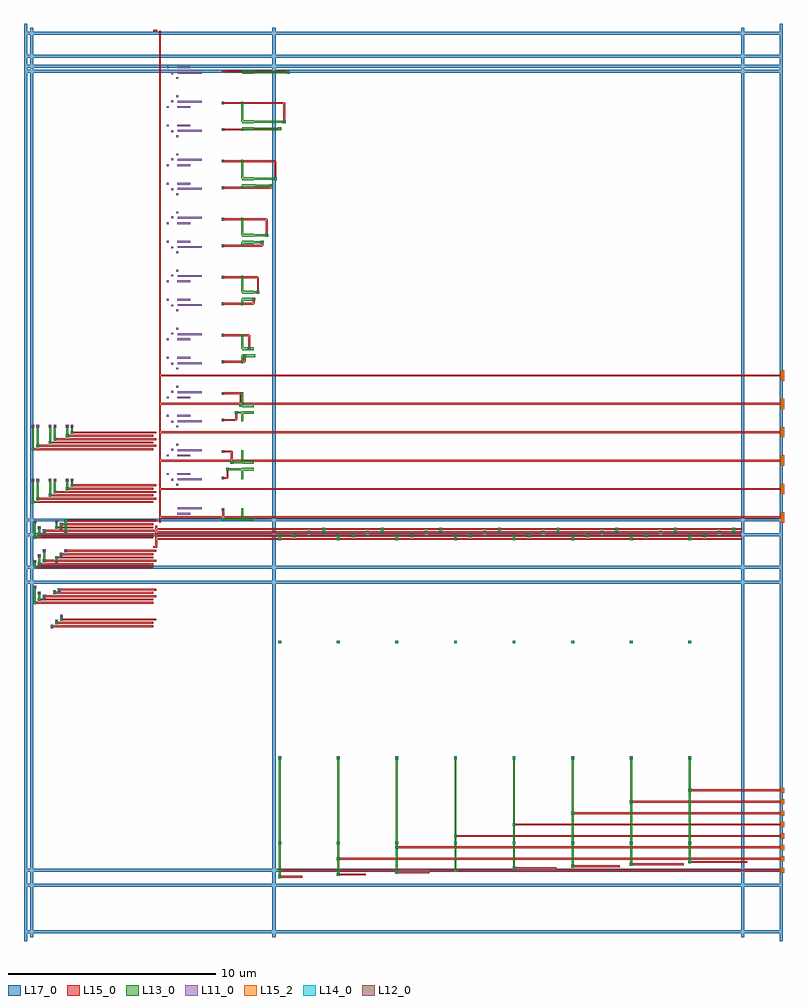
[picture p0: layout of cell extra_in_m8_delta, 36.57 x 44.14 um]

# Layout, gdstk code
import gdstk
lib = gdstk.Library(unit=1e-6, precision=5e-10)
def R(c, l, rs):  # rectangles x0, y0, x1, y1
    for r in rs: c.add(gdstk.rectangle(r[:2], r[2:], *l))
def A(c, l, x, y, w, h, nx, ny, dx, dy):  # array of equal rectangles
    R(c, l, [(x+i*dx, y+j*dy, x+i*dx+w, y+j*dy+h) for i in range(nx) for j in range(ny)])
L11_0 = (11, 0)
L12_0 = (12, 0)
L13_0 = (13, 0)
L14_0 = (14, 0)
L15_0 = (15, 0)
L15_2 = (15, 2)
L17_0 = (17, 0)

extra_in_m8_delta = lib.new_cell('extra_in_m8_delta')
A(extra_in_m8_delta, L11_0, 7.46, 20.785, 1.145, 0.09, 1, 16, 0, 1.3975)
R(extra_in_m8_delta, L11_0, [(1.33,15.0575,1.465,15.1925), (1.3525,15.08,1.4425,15.17), (1.545,15.3375,1.68,15.4725), (1.5675,15.36,1.6575,15.45), (1.7825,15.57,1.9175,15.705), (1.805,15.5925,1.895,15.6825), (0.96,16.4525,1.095,16.5875), (0.9825,16.475,1.0725,16.565), (0.7225,16.685,0.8575,16.82), (0.745,16.7075,0.835,16.7975), (1.4525,16.755,1.5875,16.89), (1.685,16.755,1.82,16.89), (1.475,16.7775,1.565,16.8675), (1.7075,16.7775,1.7975,16.8675), (0.5075,16.965,0.6425,17.1), (0.53,16.9875,0.62,17.0775), (0.5075,18.205,0.6425,18.34), (1.545,18.205,1.68,18.34), (0.53,18.2275,0.62,18.3175), (1.5675,18.2275,1.6575,18.3175), (0.7225,18.485,0.8575,18.62), (1.76,18.485,1.895,18.62), (0.745,18.5075,0.835,18.5975), (1.7825,18.5075,1.8725,18.5975), (0.96,18.7175,1.095,18.8525), (1.9975,18.7175,2.1325,18.8525), (0.9825,18.74,1.0725,18.83), (2.02,18.74,2.11,18.83), (0.96,19.6,1.095,19.735), (1.9975,19.6,2.1325,19.735), (0.9825,19.6225,1.0725,19.7125), (2.02,19.6225,2.11,19.7125), (0.7225,19.8325,0.8575,19.9675), (1.76,19.8325,1.895,19.9675), (0.745,19.855,0.835,19.945), (1.7825,19.855,1.8725,19.945), (0.5075,20.1125,0.6425,20.2475), (1.545,20.1125,1.68,20.2475), (0.53,20.135,0.62,20.225), (1.5675,20.135,1.6575,20.225), (7.4225,20.53,8.0075,20.62), (7.9625,20.53,8.0525,20.62), (9.5625,20.7025,9.6975,20.8375), (9.585,20.725,9.675,20.815), (7.3775,21.925,7.4675,22.015), (0.415,22.115,0.55,22.25), (0.6475,22.115,0.7825,22.25), (1.2375,22.115,1.3725,22.25), (1.47,22.115,1.605,22.25), (2.06,22.115,2.195,22.25), (2.2925,22.115,2.4275,22.25), (0.4375,22.1375,0.5275,22.2275), (0.67,22.1375,0.76,22.2275), (1.26,22.1375,1.35,22.2275), (1.4925,22.1375,1.5825,22.2275), (2.0825,22.1375,2.1725,22.2275), (2.315,22.1375,2.405,22.2275), (7.14,22.1575,7.23,22.2475), (9.5625,22.22,9.6975,22.355), (9.585,22.2425,9.675,22.3325), (6.925,22.4375,7.015,22.5275), (7.4225,22.4375,8.0075,22.5275), (7.9625,22.4375,8.0525,22.5275), (6.925,23.325,7.015,23.415), (7.4225,23.325,8.0075,23.415), (7.9625,23.325,8.0525,23.415), (9.5625,23.4975,9.6975,23.6325), (9.585,23.52,9.675,23.61), (7.14,23.605,7.23,23.695), (7.3775,23.8375,7.4675,23.9275), (0.415,24.7075,0.55,24.8425), (0.6475,24.7075,0.7825,24.8425), (1.2375,24.7075,1.3725,24.8425), (1.47,24.7075,1.605,24.8425), (2.06,24.7075,2.195,24.8425), (2.2925,24.7075,2.4275,24.8425), (7.3775,24.72,7.4675,24.81), (0.4375,24.73,0.5275,24.82), (0.67,24.73,0.76,24.82), (1.26,24.73,1.35,24.82), (1.4925,24.73,1.5825,24.82), (2.0825,24.73,2.1725,24.82), (2.315,24.73,2.405,24.82), (7.14,24.9525,7.23,25.0425), (9.5625,25.015,9.6975,25.15), (9.585,25.0375,9.675,25.1275), (6.925,25.2325,7.015,25.3225), (7.4225,25.2325,8.0075,25.3225), (7.9625,25.2325,8.0525,25.3225), (6.925,26.12,7.015,26.21), (7.4225,26.12,8.0075,26.21), (7.9625,26.12,8.0525,26.21), (9.5625,26.2925,9.6975,26.4275), (9.585,26.315,9.675,26.405), (7.14,26.4,7.23,26.49), (7.3775,26.6325,7.4675,26.7225), (7.3775,27.515,7.4675,27.605), (7.14,27.7475,7.23,27.8375), (9.5625,27.81,9.6975,27.945), (9.585,27.8325,9.675,27.9225), (6.925,28.0275,7.015,28.1175), (7.4225,28.0275,8.0075,28.1175), (7.9625,28.0275,8.0525,28.1175), (6.925,28.915,7.015,29.005), (7.4225,28.915,8.0075,29.005), (7.9625,28.915,8.0525,29.005), (9.5625,29.0875,9.6975,29.2225), (9.585,29.11,9.675,29.2), (7.14,29.195,7.23,29.285), (7.3775,29.4275,7.4675,29.5175), (7.3775,30.31,7.4675,30.4), (7.14,30.5425,7.23,30.6325), (9.5625,30.605,9.6975,30.74), (9.585,30.6275,9.675,30.7175), (6.925,30.8225,7.015,30.9125), (7.4225,30.8225,8.0075,30.9125), (7.9625,30.8225,8.0525,30.9125), (6.925,31.71,7.015,31.8), (7.4225,31.71,8.0075,31.8), (7.9625,31.71,8.0525,31.8), (9.5625,31.8825,9.6975,32.0175), (9.585,31.905,9.675,31.995), (7.14,31.99,7.23,32.08), (7.3775,32.2225,7.4675,32.3125), (7.3775,33.105,7.4675,33.195), (7.14,33.3375,7.23,33.4275), (9.5625,33.4,9.6975,33.535), (9.585,33.4225,9.675,33.5125), (6.925,33.6175,7.015,33.7075), (7.4225,33.6175,8.0075,33.7075), (7.9625,33.6175,8.0525,33.7075), (6.925,34.505,7.015,34.595), (7.4225,34.505,8.0075,34.595), (7.9625,34.505,8.0525,34.595), (9.5625,34.6775,9.6975,34.8125), (9.585,34.7,9.675,34.79), (7.14,34.785,7.23,34.875), (7.3775,35.0175,7.4675,35.1075), (7.3775,35.9,7.4675,35.99), (7.14,36.1325,7.23,36.2225), (9.5625,36.195,9.6975,36.33), (9.585,36.2175,9.675,36.3075), (6.925,36.4125,7.015,36.5025), (7.4225,36.4125,8.0075,36.5025), (7.9625,36.4125,8.0525,36.5025), (6.925,37.3,7.015,37.39), (7.4225,37.3,8.0075,37.39), (7.9625,37.3,8.0525,37.39), (9.5625,37.4725,9.6975,37.6075), (9.585,37.495,9.675,37.585), (7.14,37.58,7.23,37.67), (7.3775,37.8125,7.4675,37.9025), (7.3775,38.695,7.4675,38.785), (7.14,38.9275,7.23,39.0175), (9.5625,38.99,9.6975,39.125), (9.585,39.0125,9.675,39.1025), (6.925,39.2075,7.015,39.2975), (7.4225,39.2075,8.0075,39.2975), (7.9625,39.2075,8.0525,39.2975), (6.925,40.095,7.015,40.185), (7.4225,40.095,8.0075,40.185), (7.9625,40.095,8.0525,40.185), (9.5625,40.2675,9.6975,40.4025), (9.585,40.29,9.675,40.38), (7.14,40.375,7.23,40.465), (7.3775,40.6075,7.4675,40.6975), (7.3775,41.49,7.4675,41.58), (7.14,41.7225,7.23,41.8125), (9.5625,41.785,9.6975,41.92), (9.585,41.8075,9.675,41.8975), (6.925,42.0025,7.015,42.0925), (7.4225,42.0025,8.0075,42.0925), (7.9625,42.0025,8.0525,42.0925)])
R(extra_in_m8_delta, L12_0, [(1.365,15.0925,1.43,15.1575), (1.58,15.3725,1.645,15.4375), (1.8175,15.605,1.8825,15.67), (0.995,16.4875,1.06,16.5525), (0.7575,16.72,0.8225,16.785), (1.4875,16.79,1.5525,16.855), (1.72,16.79,1.785,16.855), (0.5425,17,0.6075,17.065), (0.5425,18.24,0.6075,18.305), (1.58,18.24,1.645,18.305), (0.7575,18.52,0.8225,18.585), (1.795,18.52,1.86,18.585), (0.995,18.7525,1.06,18.8175), (2.0325,18.7525,2.0975,18.8175), (0.995,19.635,1.06,19.7), (2.0325,19.635,2.0975,19.7), (0.7575,19.8675,0.8225,19.9325), (1.795,19.8675,1.86,19.9325), (0.5425,20.1475,0.6075,20.2125), (1.58,20.1475,1.645,20.2125), (9.5975,20.7375,9.6625,20.8025), (0.45,22.15,0.515,22.215), (0.6825,22.15,0.7475,22.215), (1.2725,22.15,1.3375,22.215), (1.505,22.15,1.57,22.215), (2.095,22.15,2.16,22.215), (2.3275,22.15,2.3925,22.215), (9.5975,22.255,9.6625,22.32), (9.5975,23.5325,9.6625,23.5975), (0.45,24.7425,0.515,24.8075), (0.6825,24.7425,0.7475,24.8075), (1.2725,24.7425,1.3375,24.8075), (1.505,24.7425,1.57,24.8075), (2.095,24.7425,2.16,24.8075), (2.3275,24.7425,2.3925,24.8075), (9.5975,25.05,9.6625,25.115), (9.5975,26.3275,9.6625,26.3925), (9.5975,27.845,9.6625,27.91), (9.5975,29.1225,9.6625,29.1875), (9.5975,30.64,9.6625,30.705), (9.5975,31.9175,9.6625,31.9825), (9.5975,33.435,9.6625,33.5), (9.5975,34.7125,9.6625,34.7775), (9.5975,36.23,9.6625,36.295), (9.5975,37.5075,9.6625,37.5725), (9.5975,39.025,9.6625,39.09), (9.5975,40.3025,9.6625,40.3675), (9.5975,41.82,9.6625,41.885)])
A(extra_in_m8_delta, L13_0, 12.285, 4.6525, 0.135, 0.135, 8, 2, 2.82, 4.105)
A(extra_in_m8_delta, L13_0, 12.285, 14.325, 0.135, 0.135, 8, 2, 2.82, 4.96)
A(extra_in_m8_delta, L13_0, 12.3075, 19.3525, 0.09, 0.2675, 8, 1, 2.82, 0)
A(extra_in_m8_delta, L13_0, 12.99, 19.445, 0.135, 0.135, 8, 1, 2.82, 0)
A(extra_in_m8_delta, L13_0, 13.0125, 19.5125, 0.09, 0.1075, 8, 1, 2.82, 0)
A(extra_in_m8_delta, L13_0, 13.7175, 19.6, 0.09, 0.0925, 8, 1, 2.82, 0)
A(extra_in_m8_delta, L13_0, 13.695, 19.605, 0.135, 0.135, 8, 1, 2.82, 0)
A(extra_in_m8_delta, L13_0, 14.4225, 19.62, 0.09, 0.2125, 8, 1, 2.82, 0)
A(extra_in_m8_delta, L13_0, 14.4, 19.765, 0.135, 0.135, 8, 1, 2.82, 0)
R(extra_in_m8_delta, L13_0, [(12.285,3.04,12.42,3.175), (12.3075,3.1075,12.3975,8.825), (15.105,3.14,15.24,3.275), (15.1275,3.2075,15.2175,8.825), (17.925,3.24,18.06,3.375), (17.9475,3.3075,18.0375,8.825), (20.745,3.34,20.88,3.475), (12.285,3.345,12.42,3.48), (20.7675,3.4075,20.8575,8.825), (12.3075,3.4125,12.3975,4.72), (23.565,3.44,23.7,3.575), (23.5875,3.5075,23.6775,8.825), (26.385,3.54,26.52,3.675), (26.4075,3.6075,26.4975,8.825), (29.205,3.64,29.34,3.775), (29.2275,3.7075,29.3175,8.825), (32.025,3.74,32.16,3.875), (32.0475,3.8075,32.1375,8.825), (15.105,3.895,15.24,4.03), (15.1275,3.9625,15.2175,4.72), (17.925,4.445,18.06,4.58), (17.9475,4.5125,18.0375,4.72), (20.7675,4.72,20.8575,5.0625), (23.5875,4.72,23.6775,5.6125), (26.4075,4.72,26.4975,6.1625), (29.2275,4.72,29.3175,6.7125), (32.0475,4.72,32.1375,7.2625), (20.745,4.995,20.88,5.13), (23.565,5.545,23.7,5.68), (26.385,6.095,26.52,6.23), (29.205,6.645,29.34,6.78), (32.025,7.195,32.16,7.33), (1.33,15.0575,1.465,15.1925), (1.33,15.09,1.465,15.225), (1.3525,15.095,1.4425,15.185), (1.545,15.25,1.68,15.385), (1.5675,15.315,1.6575,15.405), (1.545,15.3375,1.68,15.4725), (1.7825,15.41,1.9175,15.545), (1.805,15.4775,1.895,15.6375), (1.7825,15.57,1.9175,15.705), (0.5075,16.2125,0.6425,16.3475), (0.53,16.28,0.62,17.0325), (0.7225,16.3725,0.8575,16.5075), (0.745,16.44,0.835,16.7525), (0.96,16.4525,1.095,16.5875), (0.9825,16.515,1.0725,16.605), (0.96,16.5325,1.095,16.6675), (0.7225,16.685,0.8575,16.82), (1.4525,16.6925,1.5875,16.8275), (1.475,16.745,1.565,16.835), (1.4525,16.755,1.5875,16.89), (1.685,16.755,1.82,16.89), (1.7075,16.8225,1.7975,16.92), (1.685,16.8525,1.82,16.9875), (0.5075,16.965,0.6425,17.1), (0.5075,17.9175,0.6425,18.0525), (0.53,17.985,0.62,18.2725), (0.7225,18.0775,0.8575,18.2125), (0.745,18.145,0.835,18.5525), (0.5075,18.205,0.6425,18.34), (1.545,18.205,1.68,18.34), (0.96,18.2375,1.095,18.3725), (1.5675,18.2725,1.6575,18.465), (0.9825,18.305,1.0725,18.785), (1.545,18.3975,1.68,18.5325), (0.7225,18.485,0.8575,18.62), (1.76,18.485,1.895,18.62), (1.7825,18.5425,1.8725,18.635), (1.76,18.5575,1.895,18.6925), (0.96,18.7175,1.095,18.8525), (1.9975,18.7175,2.1325,18.8525), (1.9975,18.7175,2.1325,18.8525), (0.5075,19.36,0.6425,19.495), (0.53,19.4275,0.62,20.18), (0.7225,19.52,0.8575,19.655), (0.745,19.5875,0.835,19.9), (0.96,19.6,1.095,19.735), (1.9975,19.6,2.1325,19.735), (0.9825,19.6625,1.0725,19.7525), (2.02,19.6675,2.11,20.2275), (0.96,19.68,1.095,19.815), (0.7225,19.8325,0.8575,19.9675), (1.76,19.8325,1.895,19.9675), (1.545,19.84,1.68,19.975), (1.7825,19.9,1.8725,20.0675), (1.5675,19.9075,1.6575,20.18), (1.76,20,1.895,20.135), (0.5075,20.1125,0.6425,20.2475), (1.545,20.1125,1.68,20.2475), (1.9975,20.16,2.1325,20.295), (10.56,20.245,11.1,20.385), (9.5625,20.2475,9.6975,20.3825), (9.63,20.27,11.1,20.36), (10.515,20.315,10.605,20.83), (9.5625,20.7025,9.6975,20.8375), (0.415,21.065,0.55,21.2), (0.4375,21.1325,0.5275,22.1825), (0.6475,21.225,0.7825,21.36), (0.67,21.2925,0.76,22.1825), (1.2375,21.385,1.3725,21.52), (1.26,21.4525,1.35,22.1825), (1.47,21.545,1.605,21.68), (1.4925,21.6125,1.5825,22.1825), (2.06,21.705,2.195,21.84), (2.0825,21.7725,2.1725,22.1825), (2.2925,21.865,2.4275,22), (2.315,21.9325,2.405,22.1825), (0.415,22.115,0.55,22.25), (0.6475,22.115,0.7825,22.25), (1.2375,22.115,1.3725,22.25), (1.47,22.115,1.605,22.25), (2.06,22.115,2.195,22.25), (2.2925,22.115,2.4275,22.25), (9.5625,22.22,9.6975,22.355), (10.515,22.2275,10.605,22.71), (10.56,22.64,11.1,22.78), (9.7725,22.6425,9.9075,22.7775), (9.84,22.665,11.1,22.755), (10.56,22.975,11.1,23.115), (9.9825,22.9775,10.1175,23.1125), (10.05,23,11.1,23.09), (10.515,23.045,10.605,23.625), (9.5625,23.4975,9.6975,23.6325), (0.415,23.6125,0.55,23.7475), (0.4375,23.68,0.5275,24.775), (0.6475,23.7725,0.7825,23.9075), (0.67,23.84,0.76,24.775), (1.2375,23.9325,1.3725,24.0675), (1.26,24,1.35,24.775), (1.47,24.0925,1.605,24.2275), (1.4925,24.16,1.5825,24.775), (2.06,24.2525,2.195,24.3875), (2.0825,24.32,2.1725,24.775), (2.2925,24.4125,2.4275,24.5475), (2.315,24.48,2.405,24.775), (0.415,24.7075,0.55,24.8425), (0.6475,24.7075,0.7825,24.8425), (1.2375,24.7075,1.3725,24.8425), (1.47,24.7075,1.605,24.8425), (2.06,24.7075,2.195,24.8425), (2.2925,24.7075,2.4275,24.8425), (9.5625,25.015,9.6975,25.15), (10.515,25.0225,10.605,25.44), (10.56,25.37,11.1,25.51), (10.1925,25.3725,10.3275,25.5075), (10.26,25.395,11.1,25.485), (10.56,25.705,11.1,25.845), (10.4025,25.7075,10.5375,25.8425), (10.47,25.73,11.1,25.82), (10.515,25.775,10.605,26.42), (9.5625,26.2925,9.6975,26.4275), (9.5625,27.81,9.6975,27.945), (10.515,27.8175,10.605,28.17), (10.56,28.1,11.1,28.24), (10.6125,28.1025,10.7475,28.2375), (11.0325,28.1025,11.1675,28.2375), (10.68,28.125,11.1,28.215), (10.56,28.435,11.1,28.575), (10.8225,28.4375,10.9575,28.5725), (10.89,28.46,11.1,28.55), (10.515,28.505,10.605,29.215), (9.5625,29.0875,9.6975,29.2225), (9.5625,30.605,9.6975,30.74), (10.515,30.6125,10.605,30.9), (10.56,30.83,11.1,30.97), (10.56,31.165,11.1,31.305), (11.2425,31.1675,11.3775,31.3025), (11.1,31.19,11.31,31.28), (10.515,31.235,10.605,32.01), (9.5625,31.8825,9.6975,32.0175), (9.5625,33.4,9.6975,33.535), (10.515,33.4075,10.605,33.63), (10.56,33.56,11.1,33.7), (11.4525,33.5625,11.5875,33.6975), (11.1,33.585,11.52,33.675), (10.56,33.895,11.1,34.035), (11.6625,33.8975,11.7975,34.0325), (11.1,33.92,11.73,34.01), (10.515,33.965,10.605,34.805), (9.5625,34.6775,9.6975,34.8125), (9.5625,36.195,9.6975,36.33), (10.515,36.2025,10.605,36.36), (10.56,36.29,11.1,36.43), (11.0325,36.2925,11.1675,36.4275), (11.8725,36.2925,12.0075,36.4275), (11.1,36.315,11.94,36.405), (10.56,36.625,11.1,36.765), (12.0825,36.6275,12.2175,36.7625), (11.1,36.65,12.15,36.74), (10.515,36.695,10.605,37.6), (9.5625,37.4725,9.6975,37.6075), (9.5625,38.99,9.6975,39.125), (10.515,38.9975,10.605,39.09), (10.56,39.02,11.1,39.16), (12.2925,39.0225,12.4275,39.1575), (11.1,39.045,12.36,39.135), (10.56,39.355,11.1,39.495), (12.5025,39.3575,12.6375,39.4925), (11.1,39.38,12.57,39.47), (10.515,39.425,10.605,40.395), (9.5625,40.2675,9.6975,40.4025), (10.56,41.75,11.1,41.89), (12.7125,41.7525,12.8475,41.8875), (11.1,41.775,12.78,41.865), (9.5625,41.785,9.6975,41.92), (10.515,41.7925,10.605,41.82)])
A(extra_in_m8_delta, L14_0, 12.32, 4.6875, 0.065, 0.065, 8, 2, 2.82, 4.105)
A(extra_in_m8_delta, L14_0, 12.32, 14.36, 0.065, 0.065, 8, 2, 2.82, 4.96)
A(extra_in_m8_delta, L14_0, 13.025, 19.48, 0.065, 0.065, 8, 1, 2.82, 0)
A(extra_in_m8_delta, L14_0, 13.73, 19.64, 0.065, 0.065, 8, 1, 2.82, 0)
A(extra_in_m8_delta, L14_0, 14.435, 19.8, 0.065, 0.065, 8, 1, 2.82, 0)
R(extra_in_m8_delta, L14_0, [(12.32,3.075,12.385,3.14), (15.14,3.175,15.205,3.24), (17.96,3.275,18.025,3.34), (20.78,3.375,20.845,3.44), (12.32,3.38,12.385,3.445), (23.6,3.475,23.665,3.54), (26.42,3.575,26.485,3.64), (29.24,3.675,29.305,3.74), (32.06,3.775,32.125,3.84), (15.14,3.93,15.205,3.995), (17.96,4.48,18.025,4.545), (20.78,5.03,20.845,5.095), (23.6,5.58,23.665,5.645), (26.42,6.13,26.485,6.195), (29.24,6.68,29.305,6.745), (32.06,7.23,32.125,7.295), (1.365,15.125,1.43,15.19), (1.58,15.285,1.645,15.35), (1.8175,15.445,1.8825,15.51), (0.5425,16.2475,0.6075,16.3125), (0.7575,16.4075,0.8225,16.4725), (0.995,16.5675,1.06,16.6325), (1.4875,16.7275,1.5525,16.7925), (1.72,16.8875,1.785,16.9525), (0.5425,17.9525,0.6075,18.0175), (0.7575,18.1125,0.8225,18.1775), (0.995,18.2725,1.06,18.3375), (1.58,18.4325,1.645,18.4975), (1.795,18.5925,1.86,18.6575), (2.0325,18.7525,2.0975,18.8175), (0.5425,19.395,0.6075,19.46), (0.7575,19.555,0.8225,19.62), (0.995,19.715,1.06,19.78), (1.58,19.875,1.645,19.94), (1.795,20.035,1.86,20.1), (2.0325,20.195,2.0975,20.26), (9.5975,20.2825,9.6625,20.3475), (9.5975,20.7375,9.6625,20.8025), (0.45,21.1,0.515,21.165), (0.6825,21.26,0.7475,21.325), (1.2725,21.42,1.3375,21.485), (1.505,21.58,1.57,21.645), (2.095,21.74,2.16,21.805), (2.3275,21.9,2.3925,21.965), (9.5975,22.255,9.6625,22.32), (9.8075,22.6775,9.8725,22.7425), (10.0175,23.0125,10.0825,23.0775), (9.5975,23.5325,9.6625,23.5975), (0.45,23.6475,0.515,23.7125), (0.6825,23.8075,0.7475,23.8725), (1.2725,23.9675,1.3375,24.0325), (1.505,24.1275,1.57,24.1925), (2.095,24.2875,2.16,24.3525), (2.3275,24.4475,2.3925,24.5125), (9.5975,25.05,9.6625,25.115), (10.2275,25.4075,10.2925,25.4725), (10.4375,25.7425,10.5025,25.8075), (9.5975,26.3275,9.6625,26.3925), (9.5975,27.845,9.6625,27.91), (10.6475,28.1375,10.7125,28.2025), (10.8575,28.4725,10.9225,28.5375), (9.5975,29.1225,9.6625,29.1875), (9.5975,30.64,9.6625,30.705), (11.0675,30.8675,11.1325,30.9325), (11.2775,31.2025,11.3425,31.2675), (9.5975,31.9175,9.6625,31.9825), (9.5975,33.435,9.6625,33.5), (11.4875,33.5975,11.5525,33.6625), (11.6975,33.9325,11.7625,33.9975), (9.5975,34.7125,9.6625,34.7775), (9.5975,36.23,9.6625,36.295), (11.9075,36.3275,11.9725,36.3925), (12.1175,36.6625,12.1825,36.7275), (9.5975,37.5075,9.6625,37.5725), (9.5975,39.025,9.6625,39.09), (12.3275,39.0575,12.3925,39.1225), (12.5375,39.3925,12.6025,39.4575), (9.5975,40.3025,9.6625,40.3675), (12.7475,41.7875,12.8125,41.8525), (9.5975,41.82,9.6625,41.885)])
A(extra_in_m8_delta, L15_0, 36.4625, 3.2875, 0.16, 0.25, 1, 8, 0, 0.55)
A(extra_in_m8_delta, L15_0, 12.285, 4.6525, 0.135, 0.135, 8, 2, 2.82, 4.105)
A(extra_in_m8_delta, L15_0, 12.285, 14.325, 0.135, 0.135, 8, 2, 2.82, 4.96)
A(extra_in_m8_delta, L15_0, 6.4125, 19.3075, 28.1475, 0.09, 1, 4, 0, 0.16)
A(extra_in_m8_delta, L15_0, 12.99, 19.445, 0.135, 0.135, 8, 1, 2.82, 0)
A(extra_in_m8_delta, L15_0, 13.695, 19.605, 0.135, 0.135, 8, 1, 2.82, 0)
A(extra_in_m8_delta, L15_0, 14.4, 19.765, 0.135, 0.135, 8, 1, 2.82, 0)
A(extra_in_m8_delta, L15_0, 36.4625, 20.1475, 0.16, 0.5, 1, 6, 0, 1.365)
A(extra_in_m8_delta, L15_0, 6.5975, 20.3525, 29.865, 0.09, 1, 6, 0, 1.365)
R(extra_in_m8_delta, L15_0, [(12.285,3.04,12.42,3.175), (12.3525,3.0625,13.43,3.1525), (15.105,3.14,15.24,3.275), (15.1725,3.1625,16.49,3.2525), (17.925,3.24,18.06,3.375), (17.9925,3.2625,19.55,3.3525), (20.745,3.34,20.88,3.475), (12.285,3.345,12.42,3.48), (20.8125,3.3625,22.61,3.4525), (12.3525,3.3675,36.4625,3.4575), (23.565,3.44,23.7,3.575), (23.6325,3.4625,25.67,3.5525), (26.385,3.54,26.52,3.675), (26.4525,3.5625,28.73,3.6525), (29.205,3.64,29.34,3.775), (29.2725,3.6625,31.79,3.7525), (32.025,3.74,32.16,3.875), (32.0925,3.7625,34.85,3.8525), (15.105,3.895,15.24,4.03), (15.1725,3.9175,36.4625,4.0075), (17.925,4.445,18.06,4.58), (17.9925,4.4675,36.4625,4.5575), (20.745,4.995,20.88,5.13), (20.8125,5.0175,36.4625,5.1075), (23.565,5.545,23.7,5.68), (23.6325,5.5675,36.4625,5.6575), (26.385,6.095,26.52,6.23), (26.4525,6.1175,36.4625,6.2075), (29.205,6.645,29.34,6.78), (29.2725,6.6675,36.4625,6.7575), (32.025,7.195,32.16,7.33), (32.0925,7.2175,36.4625,7.3075), (1.33,15.09,1.465,15.225), (1.3975,15.1125,6.2625,15.2025), (1.545,15.25,1.68,15.385), (1.6125,15.2725,6.2625,15.3625), (1.7825,15.41,1.9175,15.545), (1.85,15.4325,6.4125,15.5225), (0.5075,16.2125,0.6425,16.3475), (0.575,16.235,6.2625,16.325), (0.7225,16.3725,0.8575,16.5075), (0.79,16.395,6.2625,16.485), (0.96,16.5325,1.095,16.6675), (1.0275,16.555,6.4125,16.645), (1.4525,16.6925,1.5875,16.8275), (1.52,16.715,6.2625,16.805), (1.685,16.8525,1.82,16.9875), (1.7525,16.875,6.4125,16.965), (0.5075,17.9175,0.6425,18.0525), (0.575,17.94,6.2625,18.03), (0.7225,18.0775,0.8575,18.2125), (0.79,18.1,6.2625,18.19), (0.96,18.2375,1.095,18.3725), (1.0275,18.26,6.4125,18.35), (1.545,18.3975,1.68,18.5325), (1.6125,18.42,6.2625,18.51), (1.76,18.5575,1.895,18.6925), (1.8275,18.58,6.2625,18.67), (1.9975,18.7175,2.1325,18.8525), (2.065,18.74,6.4125,18.83), (6.2625,18.925,6.4575,19.015), (6.3675,18.925,6.4575,19.9925), (0.5075,19.36,0.6425,19.495), (0.575,19.3825,6.2625,19.4725), (0.7225,19.52,0.8575,19.655), (0.79,19.5425,6.2625,19.6325), (0.96,19.68,1.095,19.815), (1.0275,19.7025,6.4125,19.7925), (1.545,19.84,1.68,19.975), (1.6125,19.8625,6.2625,19.9525), (1.76,20,1.895,20.135), (1.8275,20.0225,6.2625,20.1125), (6.5525,20.1475,6.6425,43.8025), (1.9975,20.16,2.1325,20.295), (2.065,20.1825,6.4125,20.2725), (9.5625,20.2475,9.6975,20.3825), (9.585,20.315,9.675,20.77), (9.5625,20.7025,9.6975,20.8375), (0.415,21.065,0.55,21.2), (0.4825,21.0875,6.2625,21.1775), (0.6475,21.225,0.7825,21.36), (0.715,21.2475,6.4125,21.3375), (1.2375,21.385,1.3725,21.52), (1.305,21.4075,6.2625,21.4975), (1.47,21.545,1.605,21.68), (1.5375,21.5675,6.4125,21.6575), (2.06,21.705,2.195,21.84), (2.1275,21.7275,6.2625,21.8175), (2.2925,21.865,2.4275,22), (2.36,21.8875,6.4125,21.9775), (9.5625,22.22,9.6975,22.355), (9.63,22.2425,9.84,22.3325), (9.795,22.2875,9.885,22.71), (9.7725,22.6425,9.9075,22.7775), (9.9825,22.9775,10.1175,23.1125), (10.005,23.045,10.095,23.565), (9.5625,23.4975,9.6975,23.6325), (9.63,23.52,10.05,23.61), (0.415,23.6125,0.55,23.7475), (0.4825,23.635,6.2625,23.725), (0.6475,23.7725,0.7825,23.9075), (0.715,23.795,6.4125,23.885), (1.2375,23.9325,1.3725,24.0675), (1.305,23.955,6.2625,24.045), (1.47,24.0925,1.605,24.2275), (1.5375,24.115,6.4125,24.205), (2.06,24.2525,2.195,24.3875), (2.1275,24.275,6.2625,24.365), (2.2925,24.4125,2.4275,24.5475), (2.36,24.435,6.4125,24.525), (9.5625,25.015,9.6975,25.15), (9.63,25.0375,10.26,25.1275), (10.215,25.0825,10.305,25.44), (10.1925,25.3725,10.3275,25.5075), (10.4025,25.7075,10.5375,25.8425), (10.425,25.775,10.515,26.36), (9.5625,26.2925,9.6975,26.4275), (9.63,26.315,10.47,26.405), (9.5625,27.81,9.6975,27.945), (9.63,27.8325,10.68,27.9225), (10.635,27.8775,10.725,28.17), (10.6125,28.1025,10.7475,28.2375), (10.8225,28.4375,10.9575,28.5725), (10.845,28.505,10.935,29.155), (9.5625,29.0875,9.6975,29.2225), (9.63,29.11,10.89,29.2), (9.5625,30.605,9.6975,30.74), (9.63,30.6275,11.1,30.7175), (11.055,30.6725,11.145,30.9), (11.0325,30.8325,11.1675,30.9675), (11.2425,31.1675,11.3775,31.3025), (11.265,31.235,11.355,31.95), (9.5625,31.8825,9.6975,32.0175), (9.63,31.905,11.31,31.995), (9.5625,33.4,9.6975,33.535), (9.63,33.4225,11.52,33.5125), (11.475,33.4675,11.565,33.63), (11.4525,33.5625,11.5875,33.6975), (11.6625,33.8975,11.7975,34.0325), (11.685,33.965,11.775,34.745), (9.5625,34.6775,9.6975,34.8125), (9.63,34.7,11.73,34.79), (9.5625,36.195,9.6975,36.33), (9.63,36.2175,11.94,36.3075), (11.895,36.2625,11.985,36.36), (11.8725,36.2925,12.0075,36.4275), (12.0825,36.6275,12.2175,36.7625), (12.105,36.695,12.195,37.54), (9.5625,37.4725,9.6975,37.6075), (9.63,37.495,12.15,37.585), (9.5625,38.99,9.6975,39.125), (9.63,39.0125,12.36,39.1025), (12.2925,39.0225,12.4275,39.1575), (12.315,39.03,12.405,39.12), (12.5025,39.3575,12.6375,39.4925), (12.525,39.425,12.615,40.335), (9.5625,40.2675,9.6975,40.4025), (9.63,40.29,12.57,40.38), (12.7125,41.7525,12.8475,41.8875), (9.5625,41.785,9.6975,41.92), (12.735,41.7925,12.825,41.8825), (9.63,41.8075,12.78,41.8975), (6.2625,43.77,6.4625,43.86)])
A(extra_in_m8_delta, L15_2, 36.4625, 3.2875, 0.16, 0.25, 1, 8, 0, 0.55)
A(extra_in_m8_delta, L15_2, 36.4625, 20.1475, 0.16, 0.5, 1, 6, 0, 1.365)
R(extra_in_m8_delta, L17_0, [(0.05,0,0.2,44.145), (36.4225,0,36.5725,44.145), (0.3425,0.2,0.5025,43.945), (12,0.2,12.16,43.945), (34.56,0.2,34.72,43.945), (0.2,0.3925,36.4225,0.5325), (0.2,2.6225,36.4225,2.7625), (0.2,3.3375,36.4225,3.4775), (0.2,17.2075,36.4225,17.3475), (0.2,17.9225,36.4225,18.0625), (0.2,19.4825,36.4225,19.6225), (0.2,20.1975,36.4225,20.3375), (0.2,41.7975,36.4225,41.9375), (0.2,41.7975,36.4225,41.9375), (0.2,42.0375,36.4225,42.1775), (0.2,42.0375,36.4225,42.1775), (0.2,42.5125,36.4225,42.6525), (0.2,43.6125,36.4225,43.7525)])

lib.write_gds('extra_in_m8_delta.gds')
